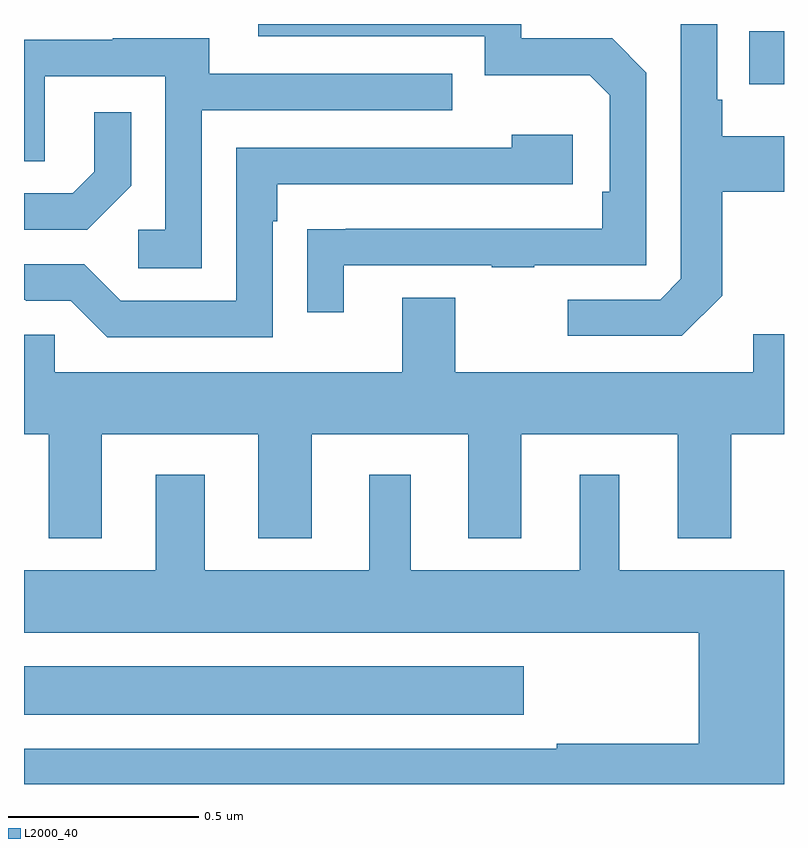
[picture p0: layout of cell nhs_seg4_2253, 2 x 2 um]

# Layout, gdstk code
import gdstk
lib = gdstk.Library(unit=1e-6, precision=1e-09)
def R(c, l, rs):  # rectangles x0, y0, x1, y1
    for r in rs: c.add(gdstk.rectangle(r[:2], r[2:], *l))
def P(c, l, *ps):  # polygons
    for p in ps: c.add(gdstk.Polygon(p, *l))
L2000_40 = (2000, 40)

nhs_seg4_2253 = lib.new_cell('nhs_seg4_2253')
R(nhs_seg4_2253, L2000_40, [(138,796.082,139.315,796.21), (139.909,797.741,140,797.881)])
P(nhs_seg4_2253, L2000_40, [(138.841,797.265),(139.231,797.265),(139.231,797.26),(139.343,797.26),(139.343,797.265),(139.638,797.265),(139.638,797.772),(139.548,797.862),(139.308,797.862),(139.308,797.9),(138.617,797.9),(138.617,797.868),(139.212,797.868),(139.212,797.765),(139.489,797.765),(139.542,797.712),(139.542,797.458),(139.522,797.458),(139.522,797.361),(138.847,797.361),(138.847,797.36),(138.745,797.36),(138.745,797.142),(138.841,797.142)],
  [(139.837,797.185),(139.837,797.458),(140,797.458),(140,797.605),(139.837,797.605),(139.837,797.701),(139.824,797.701),(139.824,797.9),(139.728,797.9),(139.728,797.229),(139.674,797.175),(139.431,797.175),(139.431,797.079),(139.731,797.079)],
  [(138.468,797.673),(139.127,797.673),(139.127,797.769),(138.487,797.769),(138.487,797.863),(138.233,797.863),(138.233,797.859),(138,797.859),(138,797.539),(138.054,797.539),(138.054,797.763),(138.372,797.763),(138.372,797.358),(138.3,797.358),(138.3,797.257),(138.468,797.257)],
  [(138.282,797.474),(138.282,797.668),(138.185,797.668),(138.185,797.511),(138.128,797.454),(138,797.454),(138,797.358),(138.166,797.358)],
  [(138.654,797.381),(138.667,797.381),(138.667,797.478),(139.444,797.478),(139.444,797.608),(139.283,797.608),(139.283,797.574),(138.558,797.574),(138.558,797.172),(138.255,797.172),(138.159,797.268),(138,797.268),(138,797.175),(138.005,797.175),(138.005,797.172),(138.123,797.172),(138.219,797.076),(138.654,797.076)],
  [(138.205,796.82),(138.617,796.82),(138.617,796.547),(138.757,796.547),(138.757,796.82),(139.169,796.82),(139.169,796.547),(139.309,796.547),(139.309,796.82),(139.721,796.82),(139.721,796.547),(139.861,796.547),(139.861,796.82),(140,796.82),(140,797.083),(139.919,797.083),(139.919,796.984),(139.135,796.984),(139.135,797.179),(138.995,797.179),(138.995,796.984),(138.081,796.984),(138.081,797.082),(138,797.082),(138,796.82),(138.065,796.82),(138.065,796.547),(138.205,796.547)],
  [(140,796.462),(139.567,796.462),(139.567,796.714),(139.463,796.714),(139.463,796.462),(139.018,796.462),(139.018,796.714),(138.908,796.714),(138.908,796.462),(138.475,796.462),(138.475,796.714),(138.347,796.714),(138.347,796.462),(138,796.462),(138,796.298),(139.775,796.298),(139.775,796.006),(139.402,796.006),(139.402,795.993),(138,795.993),(138,795.9),(140,795.9)])

lib.write_gds('nhs_seg4_2253.gds')
